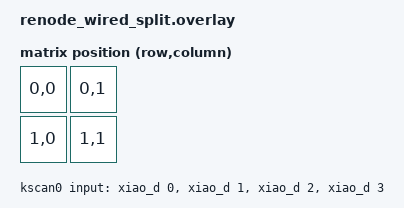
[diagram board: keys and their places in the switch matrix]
/*
 * Minimal WIRED-split XIAO shield used only for the Renode wired-split smoke
 * test (see the repo README's `west zmk-renode-test` section, --mode split).
 * Both split halves (central + peripheral) build from THIS one shield; the only
 * difference between the two artifacts is CONFIG_ZMK_SPLIT_ROLE_CENTRAL (set
 * for the central via build-split.yaml's cmake-args), not this overlay.
 *
 * Layout:
 *   - console (boot banner, relayed-event log) on uart0, each half on its own
 *     Renode TCP socket;
 *   - ZMK's `zmk,wired-split` transport (CONFIG_ZMK_SPLIT_WIRED) on uart1 --
 *     both halves' uart1 are cross-connected through a Renode UART hub
 *     (platforms/split_wired.resc), forming the virtual split wire;
 *   - a 2x2 direct-GPIO kscan + matrix transform + keymap, so a keypress on the
 *     peripheral's first key (xiao_d 0 == gpio0 pin 2) relays to the central as
 *     keymap position 0 (the smoke asserts the central logs "position: 0").
 *
 * nRF52840 has only two hardware UARTEs (uart0, uart1): console + split link
 * consume both, so there is NO UART left for a Studio RPC transport -- the
 * wired-split smoke proves the split pairing/relay, not Studio (see
 * docs/renode-testing.md). This overlay is for Renode emulation only -- the
 * uart1 pins (P0.02/P0.03) are not verified conflict-free on a real XIAO board.
 *
 * Renode gotchas: the stock xiao_ble board enables
 * &qspi/&p25q16h (external NOR flash) and &usbd/&board_cdc_acm_uart (USB CDC);
 * Renode models neither peripheral's readiness events, so their drivers
 * busy-wait forever and boot hangs silently before main(). Disable all four.
 * Neither is ZMK's settings/keymap backend, so disabling them is safe.
 */
#include <dt-bindings/zmk/matrix_transform.h>

&qspi {
	status = "disabled";
};

&p25q16h {
	status = "disabled";
};

&board_cdc_acm_uart {
	status = "disabled";
};

&usbd {
	status = "disabled";
};

&pinctrl {
	uart1_default: uart1_default {
		group1 {
			psels = <NRF_PSEL(UART_TX, 0, 2)>;
		};
		group2 {
			psels = <NRF_PSEL(UART_RX, 0, 3)>;
			bias-pull-up;
		};
	};

	uart1_sleep: uart1_sleep {
		group1 {
			psels = <NRF_PSEL(UART_TX, 0, 2)>,
					<NRF_PSEL(UART_RX, 0, 3)>;
			low-power-enable;
		};
	};
};

&uart0 {
	status = "okay";
};

&uart1 {
	compatible = "nordic,nrf-uarte";
	status = "okay";
	current-speed = <115200>;
	pinctrl-0 = <&uart1_default>;
	pinctrl-1 = <&uart1_sleep>;
	pinctrl-names = "default", "sleep";
};

/ {
	chosen {
		zephyr,console = &uart0;
		zephyr,shell-uart = &uart0;
		zmk,kscan = &kscan0;
		zmk,matrix-transform = &transform0;
	};

	kscan0: kscan {
		compatible = "zmk,kscan-gpio-direct";
		input-gpios
			= <&xiao_d 0 (GPIO_ACTIVE_LOW | GPIO_PULL_UP)>
			, <&xiao_d 1 (GPIO_ACTIVE_LOW | GPIO_PULL_UP)>
			, <&xiao_d 2 (GPIO_ACTIVE_LOW | GPIO_PULL_UP)>
			, <&xiao_d 3 (GPIO_ACTIVE_LOW | GPIO_PULL_UP)>
			;
	};

	transform0: keymap_transform {
		compatible = "zmk,matrix-transform";
		columns = <2>;
		rows = <2>;
		map = <
		RC(0,0)  RC(0,1)
		RC(1,0)  RC(1,1)
		>;
	};

	wired_split: wired_split {
		compatible = "zmk,wired-split";
		device = <&uart1>;
	};
};
